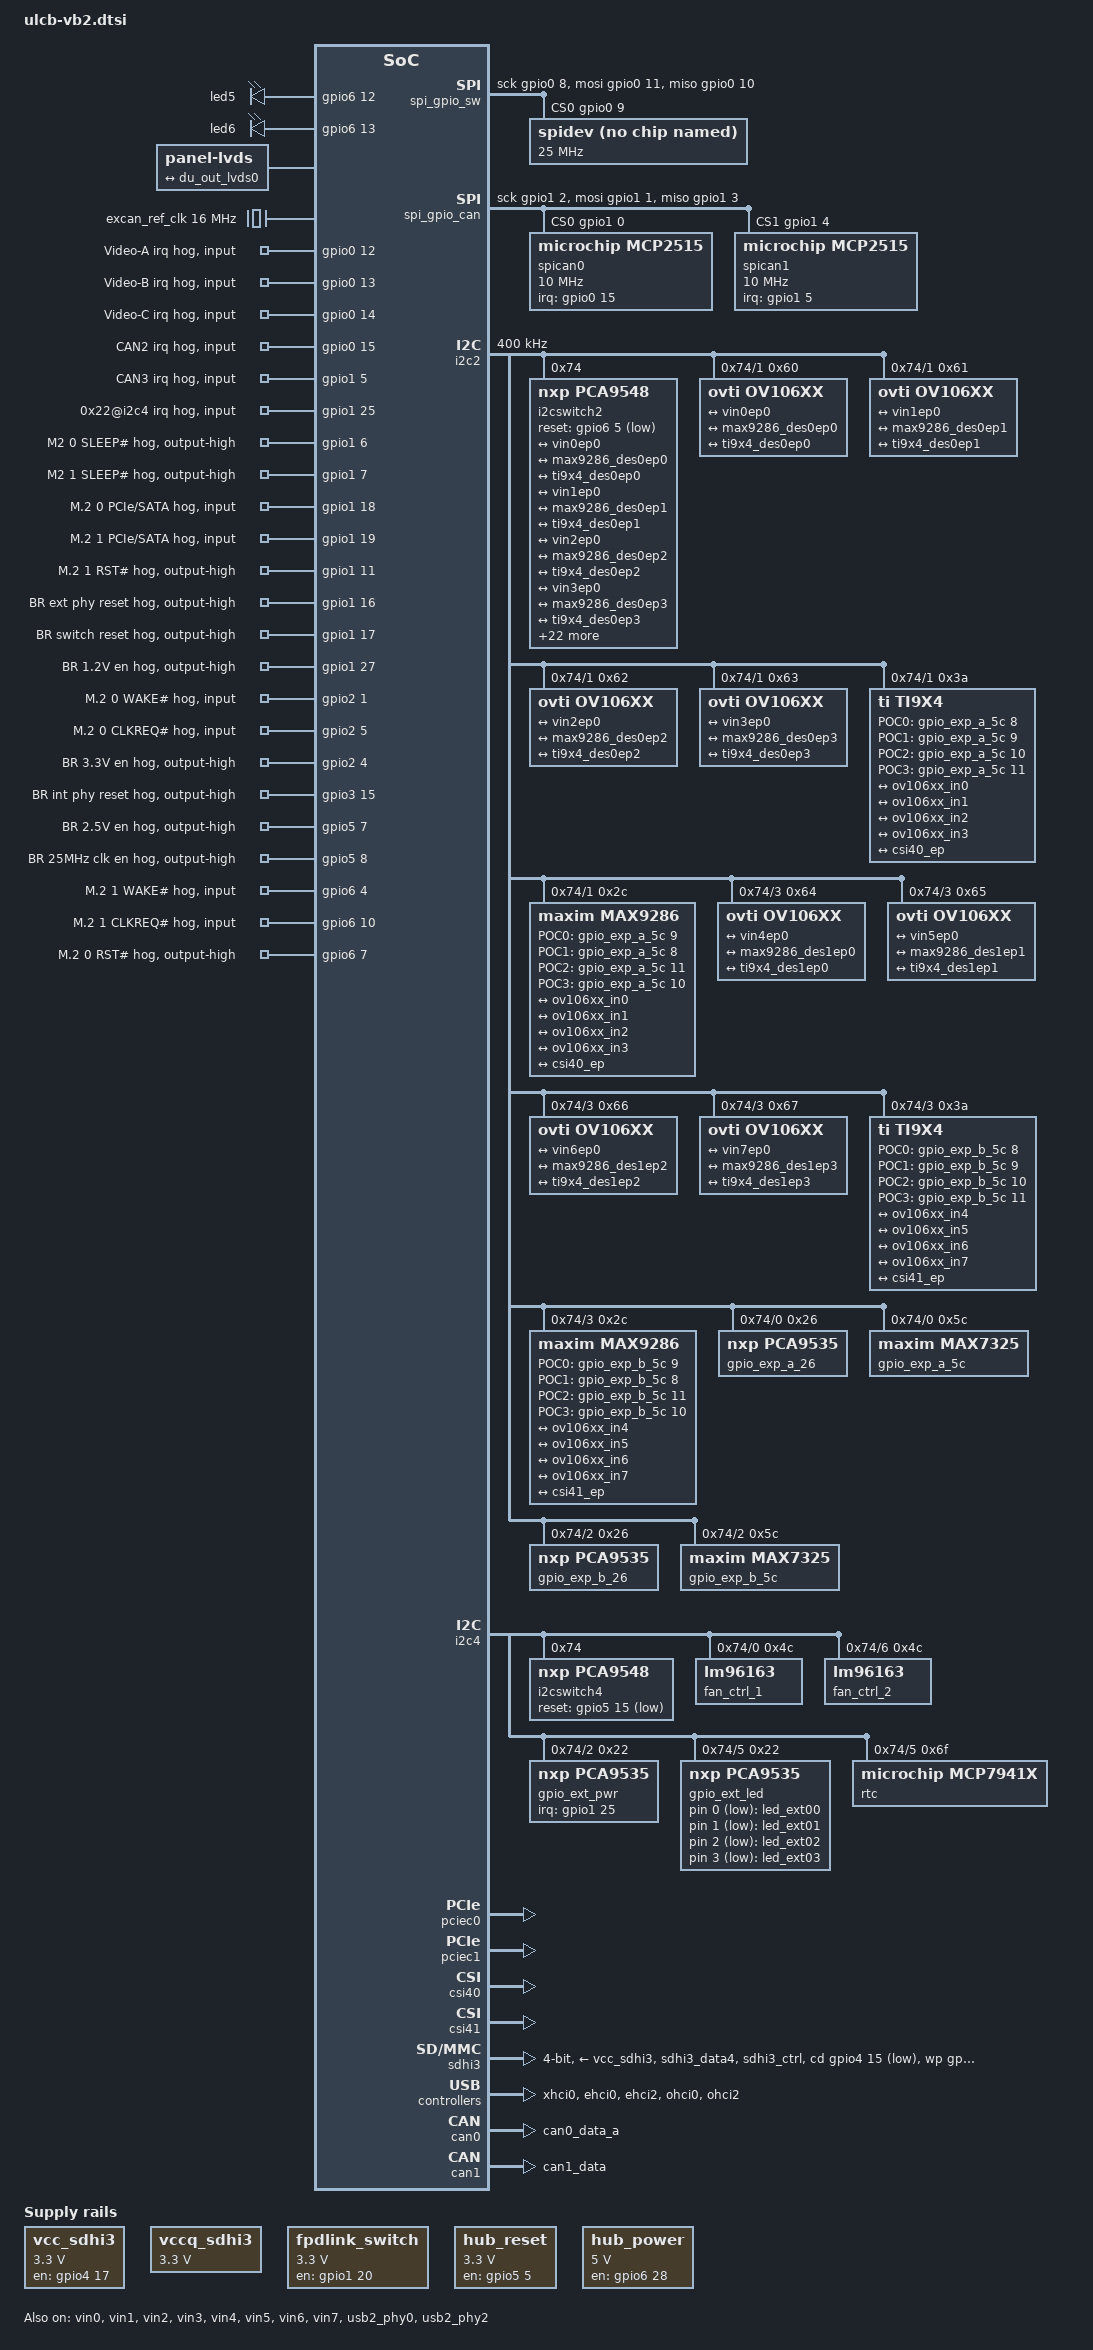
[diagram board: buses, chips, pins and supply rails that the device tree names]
/*
 * Device Tree Source for the ULCB Videobox V2 board
 *
 * Copyright (C) 2018 Cogent Embedded, Inc.
 *
 * This file is licensed under the terms of the GNU General Public License
 * version 2.  This program is licensed "as is" without any warranty of any
 * kind, whether express or implied.
 */

/ {
	leds {
		compatible = "gpio-leds";

		led5 {
			gpios = <&gpio6 12 GPIO_ACTIVE_HIGH>;
		};
		led6 {
			gpios = <&gpio6 13 GPIO_ACTIVE_HIGH>;
		};
		/* D13 - status 0 */
		led_ext00 {
			gpios = <&gpio_ext_led 0 GPIO_ACTIVE_LOW>;
			/* linux,default-trigger = "heartbeat"; */
		};
		/* D14 - status 1 */
		led_ext01 {
			gpios = <&gpio_ext_led 1 GPIO_ACTIVE_LOW>;
			/* linux,default-trigger = "mmc1"; */
		};
		/* D16 - HDMI0 */
		led_ext02 {
			gpios = <&gpio_ext_led 2 GPIO_ACTIVE_LOW>;
		};
		/* D18 - HDMI1 */
		led_ext03 {
			gpios = <&gpio_ext_led 3 GPIO_ACTIVE_LOW>;
		};
	};

	snd_clk: snd_clk {
		compatible = "fixed-clock";
		#clock-cells = <0>;
		clock-frequency = <24576000>;
		clock-output-names = "scki";
	};

	vcc_sdhi3: regulator-vcc-sdhi3 {
		compatible = "regulator-fixed";

		regulator-name = "SDHI3 Vcc";
		regulator-min-microvolt = <3300000>;
		regulator-max-microvolt = <3300000>;

		gpio = <&gpio4 17 GPIO_ACTIVE_HIGH>;
		enable-active-high;
	};

	vccq_sdhi3: regulator-vccq-sdhi3 {
		compatible = "regulator-fixed";

		regulator-name = "SDHI3 VccQ";
		regulator-min-microvolt = <3300000>;
		regulator-max-microvolt = <3300000>;
	};

	fpdlink_switch: regulator@8 {
		compatible = "regulator-fixed";
		regulator-name = "fpdlink_on";
		regulator-min-microvolt = <3300000>;
		regulator-max-microvolt = <3300000>;
		gpio = <&gpio1 20 0>;
		enable-active-high;
		regulator-always-on;
	};

	hub_reset: regulator@9 {
		compatible = "regulator-fixed";
		regulator-name = "hub_reset";
		regulator-min-microvolt = <3300000>;
		regulator-max-microvolt = <3300000>;
		gpio = <&gpio5 5 0>;
		enable-active-high;
		regulator-always-on;
	};

	hub_power: regulator@10 {
		compatible = "regulator-fixed";
		regulator-name = "hub_power";
		regulator-min-microvolt = <5000000>;
		regulator-max-microvolt = <5000000>;
		gpio = <&gpio6 28 0>;
		enable-active-high;
		regulator-always-on;
	};

	/delete-node/sound;

	rsnd_ak4613: sound@0 {
		pinctrl-0 = <&sound_0_pins>;
		pinctrl-names = "default";
		compatible = "simple-audio-card";

		simple-audio-card,format = "left_j";
		simple-audio-card,name = "ak4613";

		simple-audio-card,bitclock-master = <&sndcpu>;
		simple-audio-card,frame-master = <&sndcpu>;

		sndcpu: simple-audio-card,cpu@1 {
			sound-dai = <&rcar_sound>;
		};

		sndcodec: simple-audio-card,codec@1 {
			sound-dai = <&ak4613>;
		};
	};

	lvds {
		compatible = "panel-lvds";

		width-mm = <210>;
		height-mm = <158>;

		data-mapping = "jeida-24";

		panel-timing {
			/* 1280x800 @60Hz */
			clock-frequency = <65000000>;
			hactive = <1280>;
			vactive = <800>;
			hsync-len = <40>;
			hfront-porch = <80>;
			hback-porch = <40>;
			vfront-porch = <14>;
			vback-porch = <14>;
			vsync-len = <4>;
		};

		port {
			lvds_in: endpoint {
				remote-endpoint = <&du_out_lvds0>;
			};
		};
	};

	excan_ref_clk: excan-ref-clock {
		compatible = "fixed-clock";
		#clock-cells = <0>;
		clock-frequency = <16000000>;
	};

	spi_gpio_sw {
		compatible = "spi-gpio";
		#address-cells = <0x1>;
		#size-cells = <0x0>;
		gpio-sck = <&gpio0 8 GPIO_ACTIVE_HIGH>;
		gpio-miso = <&gpio0 10 GPIO_ACTIVE_HIGH>;
		gpio-mosi = <&gpio0 11 GPIO_ACTIVE_HIGH>;
		cs-gpios = <&gpio0 9 GPIO_ACTIVE_HIGH>;
		num-chipselects = <1>;

		spidev: spidev@0 {
			compatible = "spidev", "spi-gpio";
			reg = <0>;
			spi-max-frequency = <25000000>;
			spi-cpha;
			spi-cpol;
		};
	};

	spi_gpio_can {
		compatible = "spi-gpio";
		#address-cells = <0x1>;
		#size-cells = <0x0>;
		gpio-sck = <&gpio1 2 GPIO_ACTIVE_HIGH>;
		gpio-miso = <&gpio1 3 GPIO_ACTIVE_HIGH>;
		gpio-mosi = <&gpio1 1 GPIO_ACTIVE_HIGH>;
		cs-gpios = <&gpio1 0 GPIO_ACTIVE_HIGH
			    &gpio1 4 GPIO_ACTIVE_HIGH>;
		num-chipselects = <2>;

		spican0: spidev@0 {
			compatible = "microchip,mcp2515";
			reg = <0>;
			clocks = <&excan_ref_clk>;
			interrupt-parent = <&gpio0>;
			interrupts = <15 GPIO_ACTIVE_LOW>;
			spi-max-frequency = <10000000>;
		};
		spican1: spidev@1 {
			compatible = "microchip,mcp2515";
			reg = <1>;
			clocks = <&excan_ref_clk>;
			interrupt-parent = <&gpio1>;
			interrupts = <5 GPIO_ACTIVE_LOW>;
			spi-max-frequency = <10000000>;
		};
	};
};

&pfc {
	hscif4_pins: hscif4 {
		groups = "hscif4_data_a", "hscif4_ctrl";
		function = "hscif4";
	};

	/delete-node/sound;

	sound_0_pins: sound1 {
		groups = "ssi01239_ctrl", "ssi0_data", "ssi1_data_a";
		function = "ssi";
	};

	usb0_pins: usb0 {
		groups = "usb0";
		function = "usb0";
	};

	usb2_pins: usb2 {
		groups = "usb2";
		function = "usb2";
	};

	can0_pins: can0 {
		groups = "can0_data_a";
		function = "can0";
	};

	can1_pins: can1 {
		groups = "can1_data";
		function = "can1";
	};

	canfd0_pins: canfd0 {
		groups = "canfd0_data_a";
		function = "canfd0";
	};

	canfd1_pins: canfd1 {
		groups = "canfd1_data";
		function = "canfd1";
	};

	sdhi3_pins: sd3 {
		groups = "sdhi3_data4", "sdhi3_ctrl";
		function = "sdhi3";
		power-source = <3300>;
	};

	sdhi3_pins_uhs: sd3_uhs {
		groups = "sdhi3_data4", "sdhi3_ctrl";
		function = "sdhi3";
		power-source = <1800>;
	};
};

&gpio0 {
	video_a_irq {
		gpio-hog;
		gpios = <12 GPIO_ACTIVE_HIGH>;
		input;
		line-name = "Video-A irq";
	};

	video_b_irq {
		gpio-hog;
		gpios = <13 GPIO_ACTIVE_HIGH>;
		input;
		line-name = "Video-B irq";
	};

	video_c_irq {
		gpio-hog;
		gpios = <14 GPIO_ACTIVE_HIGH>;
		input;
		line-name = "Video-C irq";
	};
	can2_irq {
		gpio-hog;
		gpios = <15 GPIO_ACTIVE_HIGH>;
		input;
		line-name = "CAN2 irq";
	};
};

&gpio1 {
	can3_irq {
		gpio-hog;
		gpios = <5 GPIO_ACTIVE_HIGH>;
		input;
		line-name = "CAN3 irq";
	};
	gpioext_4_22_irq {
		gpio-hog;
		gpios = <25 GPIO_ACTIVE_HIGH>;
		input;
		line-name = "0x22@i2c4 irq";
	};
	m2_0_sleep {
		gpio-hog;
		gpios = <6 GPIO_ACTIVE_HIGH>;
		output-high;
		line-name = "M2 0 SLEEP#";
	};
	m2_1_sleep {
		gpio-hog;
		gpios = <7 GPIO_ACTIVE_HIGH>;
		output-high;
		line-name = "M2 1 SLEEP#";
	};
	m2_0_pcie_det {
		gpio-hog;
		gpios = <18 GPIO_ACTIVE_HIGH>;
		input;
		line-name = "M.2 0 PCIe/SATA";
	};
	m2_1_pcie_det {
		gpio-hog;
		gpios = <19 GPIO_ACTIVE_HIGH>;
		input;
		line-name = "M.2 1 PCIe/SATA";
	};
	m2_1_rst {
		gpio-hog;
		gpios = <11 GPIO_ACTIVE_HIGH>;
		output-high;
		line-name = "M.2 1 RST#";
	};
	switch_ext_phy_reset {
		gpio-hog;
		gpios = <16 GPIO_ACTIVE_HIGH>;
		output-high;
		line-name = "BR ext phy reset";
	};
	switch_sw_reset {
		gpio-hog;
		gpios = <17 GPIO_ACTIVE_HIGH>;
		output-high;
		line-name = "BR switch reset";
	};
	switch_1v2_en {
		gpio-hog;
		gpios = <27 GPIO_ACTIVE_HIGH>;
		output-high;
		line-name = "BR 1.2V en";
	};
};

&gpio2 {
	m2_0_wake {
		gpio-hog;
		gpios = <1 GPIO_ACTIVE_HIGH>;
		input;
		line-name = "M.2 0 WAKE#";
	};
	m2_0_clkreq {
		gpio-hog;
		gpios = <5 GPIO_ACTIVE_HIGH>;
		input;
		line-name = "M.2 0 CLKREQ#";
	};
	switch_3v3_en {
		gpio-hog;
		gpios = <4 GPIO_ACTIVE_HIGH>;
		output-high;
		line-name = "BR 3.3V en";
	};
};

&gpio3 {
	switch_int_phy_reset {
		gpio-hog;
		gpios = <15 GPIO_ACTIVE_HIGH>;
		output-high;
		line-name = "BR int phy reset";
	};
};

&gpio5 {
	switch_2v5_en {
		gpio-hog;
		gpios = <7 GPIO_ACTIVE_HIGH>;
		output-high;
		line-name = "BR 2.5V en";
	};
	switch_25mhz_en {
		gpio-hog;
		gpios = <8 GPIO_ACTIVE_HIGH>;
		output-high;
		line-name = "BR 25MHz clk en";
	};
};

&gpio6 {
	m2_1_wake {
		gpio-hog;
		gpios = <4 GPIO_ACTIVE_HIGH>;
		input;
		line-name = "M.2 1 WAKE#";
	};
	m2_1_clkreq {
		gpio-hog;
		gpios = <10 GPIO_ACTIVE_HIGH>;
		input;
		line-name = "M.2 1 CLKREQ#";
	};

	m2_0_rst {
		gpio-hog;
		gpios = <7 GPIO_ACTIVE_HIGH>;
		output-high;
		line-name = "M.2 0 RST#";
	};
};

&i2c2 {
	clock-frequency = <400000>;

	i2cswitch2: pca9548@74 {
		compatible = "nxp,pca9548";
		#address-cells = <1>;
		#size-cells = <0>;
		reg = <0x74>;
		reset-gpios = <&gpio6 5 GPIO_ACTIVE_LOW>;

		i2c@4 {
			#address-cells = <1>;
			#size-cells = <0>;
			reg = <4>;
			/* USB3.0 HUB node(s) */
			/* addr of TUSB8041 is 100.0100 = 0x44 */
		};

		i2c@1 {
			#address-cells = <1>;
			#size-cells = <0>;
			reg = <1>;
			/* Slot A (CN10) */

			ov106xx@0 {
				compatible = "ovti,ov106xx";
				reg = <0x60>;

				port@0 {
					ov106xx_in0: endpoint {
						clock-lanes = <0>;
						data-lanes = <1 2 3 4>;
						remote-endpoint = <&vin0ep0>;
					};
				};
				port@1 {
					ov106xx_max9286_des0ep0: endpoint@0 {
						remote-endpoint = <&max9286_des0ep0>;
					};
					ov106xx_ti9x4_des0ep0: endpoint@1 {
						remote-endpoint = <&ti9x4_des0ep0>;
					};
				};
			};

			ov106xx@1 {
				compatible = "ovti,ov106xx";
				reg = <0x61>;

				port@0 {
					ov106xx_in1: endpoint {
						clock-lanes = <0>;
						data-lanes = <1 2 3 4>;
						remote-endpoint = <&vin1ep0>;
					};
				};
				port@1 {
					ov106xx_max9286_des0ep1: endpoint@0 {
						remote-endpoint = <&max9286_des0ep1>;
					};
					ov106xx_ti9x4_des0ep1: endpoint@1 {
						remote-endpoint = <&ti9x4_des0ep1>;
					};
				};
			};

			ov106xx@2 {
				compatible = "ovti,ov106xx";
				reg = <0x62>;

				port@0 {
					ov106xx_in2: endpoint {
						clock-lanes = <0>;
						data-lanes = <1 2 3 4>;
						remote-endpoint = <&vin2ep0>;
					};
				};
				port@1 {
					ov106xx_max9286_des0ep2: endpoint@0 {
						remote-endpoint = <&max9286_des0ep2>;
					};
					ov106xx_ti9x4_des0ep2: endpoint@1 {
						remote-endpoint = <&ti9x4_des0ep2>;
					};
				};
			};

			ov106xx@3 {
				compatible = "ovti,ov106xx";
				reg = <0x63>;

				port@0 {
					ov106xx_in3: endpoint {
						clock-lanes = <0>;
						data-lanes = <1 2 3 4>;
						remote-endpoint = <&vin3ep0>;
					};
				};
				port@1 {
					ov106xx_max9286_des0ep3: endpoint@0 {
						remote-endpoint = <&max9286_des0ep3>;
					};
					ov106xx_ti9x4_des0ep3: endpoint@1 {
						remote-endpoint = <&ti9x4_des0ep3>;
					};
				};
			};

			/* DS90UB9x4 @ 0x3a */
			ti9x4@0 {
				compatible = "ti,ti9x4";
				reg = <0x3a>;
				ti,links = <4>;
				ti,lanes = <4>;
				ti,forwarding-mode = "round-robin";
				ti,cable-mode = "stp";

				POC0-gpios = <&gpio_exp_a_5c 8 GPIO_ACTIVE_HIGH>;
				POC1-gpios = <&gpio_exp_a_5c 9 GPIO_ACTIVE_HIGH>;
				POC2-gpios = <&gpio_exp_a_5c 10 GPIO_ACTIVE_HIGH>;
				POC3-gpios = <&gpio_exp_a_5c 11 GPIO_ACTIVE_HIGH>;

				port@0 {
					ti9x4_des0ep0: endpoint@0 {
						ti9x3-addr = <0x0c>;
						dvp-order = <0>;
						remote-endpoint = <&ov106xx_in0>;
					};
					ti9x4_des0ep1: endpoint@1 {
						ti9x3-addr = <0x0d>;
						dvp-order = <0>;
						remote-endpoint = <&ov106xx_in1>;
					};
					ti9x4_des0ep2: endpoint@2 {
						ti9x3-addr = <0x0e>;
						dvp-order = <0>;
						remote-endpoint = <&ov106xx_in2>;
					};
					ti9x4_des0ep3: endpoint@3 {
						ti9x3-addr = <0x0f>;
						dvp-order = <0>;
						remote-endpoint = <&ov106xx_in3>;
					};
				};
				port@1 {
					ti9x4_csi0ep0: endpoint {
						csi-rate = <1450>;
						remote-endpoint = <&csi40_ep>;
					};
				};
			};

			/* MAX9286 @ 0x2c */
			max9286@0 {
				compatible = "maxim,max9286";
				reg = <0x2c>;
				maxim,links = <4>;
				maxim,lanes = <4>;
				maxim,resetb-gpio = <1>;
				maxim,fsync-mode = "automatic";
				maxim,timeout = <100>;

				POC0-gpios = <&gpio_exp_a_5c 9 GPIO_ACTIVE_HIGH>;
				POC1-gpios = <&gpio_exp_a_5c 8 GPIO_ACTIVE_HIGH>;
				POC2-gpios = <&gpio_exp_a_5c 11 GPIO_ACTIVE_HIGH>;
				POC3-gpios = <&gpio_exp_a_5c 10 GPIO_ACTIVE_HIGH>;

				port@0 {
					max9286_des0ep0: endpoint@0 {
						max9271-addr = <0x50>;
						dvp-order = <1>;
						remote-endpoint = <&ov106xx_in0>;
					};
					max9286_des0ep1: endpoint@1 {
						max9271-addr = <0x51>;
						dvp-order = <1>;
						remote-endpoint = <&ov106xx_in1>;
					};
					max9286_des0ep2: endpoint@2 {
						max9271-addr = <0x52>;
						dvp-order = <1>;
						remote-endpoint = <&ov106xx_in2>;
					};
					max9286_des0ep3: endpoint@3 {
						max9271-addr = <0x53>;
						dvp-order = <1>;
						remote-endpoint = <&ov106xx_in3>;
					};
				};
				port@1 {
					max9286_csi0ep0: endpoint {
						csi-rate = <700>;
						remote-endpoint = <&csi40_ep>;
					};
				};
			};
		};

		i2c@3 {
			#address-cells = <1>;
			#size-cells = <0>;
			reg = <3>;
			/* Slot B (CN11) */

			ov106xx@4 {
				compatible = "ovti,ov106xx";
				reg = <0x64>;

				port@0 {
					ov106xx_in4: endpoint {
						clock-lanes = <0>;
						data-lanes = <1 2 3 4>;
						remote-endpoint = <&vin4ep0>;
					};
				};
				port@1 {
					ov106xx_max9286_des1ep0: endpoint@0 {
						remote-endpoint = <&max9286_des1ep0>;
					};
					ov106xx_ti9x4_des1ep0: endpoint@1 {
						remote-endpoint = <&ti9x4_des1ep0>;
					};
				};
			};

			ov106xx@5 {
				compatible = "ovti,ov106xx";
				reg = <0x65>;

				port@0 {
					ov106xx_in5: endpoint {
						clock-lanes = <0>;
						data-lanes = <1 2 3 4>;
						remote-endpoint = <&vin5ep0>;
					};
				};
				port@1 {
					ov106xx_max9286_des1ep1: endpoint@0 {
						remote-endpoint = <&max9286_des1ep1>;
					};
					ov106xx_ti9x4_des1ep1: endpoint@1 {
						remote-endpoint = <&ti9x4_des1ep1>;
					};
				};
			};

			ov106xx@6 {
				compatible = "ovti,ov106xx";
				reg = <0x66>;

				port@0 {
					ov106xx_in6: endpoint {
						clock-lanes = <0>;
						data-lanes = <1 2 3 4>;
						remote-endpoint = <&vin6ep0>;
					};
				};
				port@1 {
					ov106xx_max9286_des1ep2: endpoint@0 {
						remote-endpoint = <&max9286_des1ep2>;
					};
					ov106xx_ti9x4_des1ep2: endpoint@1 {
						remote-endpoint = <&ti9x4_des1ep2>;
					};
				};
			};

			ov106xx@7 {
				compatible = "ovti,ov106xx";
				reg = <0x67>;

				port@0 {
					ov106xx_in7: endpoint {
						clock-lanes = <0>;
						data-lanes = <1 2 3 4>;
						remote-endpoint = <&vin7ep0>;
					};
				};
				port@1 {
					ov106xx_max9286_des1ep3: endpoint@0 {
						remote-endpoint = <&max9286_des1ep3>;
					};
					ov106xx_ti9x4_des1ep3: endpoint@1 {
						remote-endpoint = <&ti9x4_des1ep3>;
					};
				};
			};

			/* DS90UB9x4 @ 0x3a */
			ti9x4@1 {
				compatible = "ti,ti9x4";
				reg = <0x3a>;
				ti,links = <4>;
				ti,lanes = <4>;
				ti,forwarding-mode = "round-robin";
				ti,cable-mode = "stp";

				POC0-gpios = <&gpio_exp_b_5c 8 GPIO_ACTIVE_HIGH>;
				POC1-gpios = <&gpio_exp_b_5c 9 GPIO_ACTIVE_HIGH>;
				POC2-gpios = <&gpio_exp_b_5c 10 GPIO_ACTIVE_HIGH>;
				POC3-gpios = <&gpio_exp_b_5c 11 GPIO_ACTIVE_HIGH>;

				port@0 {
					ti9x4_des1ep0: endpoint@0 {
						ti9x3-addr = <0x0c>;
						dvp-order = <0>;
						remote-endpoint = <&ov106xx_in4>;
					};
					ti9x4_des1ep1: endpoint@1 {
						ti9x3-addr = <0x0d>;
						dvp-order = <0>;
						remote-endpoint = <&ov106xx_in5>;
					};
					ti9x4_des1ep2: endpoint@2 {
						ti9x3-addr = <0x0e>;
						dvp-order = <0>;
						remote-endpoint = <&ov106xx_in6>;
					};
					ti9x4_des1ep3: endpoint@3 {
						ti9x3-addr = <0x0f>;
						dvp-order = <0>;
						remote-endpoint = <&ov106xx_in7>;
					};
				};
				port@1 {
					ti9x4_csi2ep0: endpoint {
						csi-rate = <1450>;
						remote-endpoint = <&csi41_ep>;
					};
				};
			};

			/* MAX9286 @ 0x2c */
			max9286@1 {
				compatible = "maxim,max9286";
				reg = <0x2c>;
				maxim,links = <4>;
				maxim,lanes = <4>;
				maxim,resetb-gpio = <1>;
				maxim,fsync-mode = "automatic";
				maxim,timeout = <100>;

				POC0-gpios = <&gpio_exp_b_5c 9 GPIO_ACTIVE_HIGH>;
				POC1-gpios = <&gpio_exp_b_5c 8 GPIO_ACTIVE_HIGH>;
				POC2-gpios = <&gpio_exp_b_5c 11 GPIO_ACTIVE_HIGH>;
				POC3-gpios = <&gpio_exp_b_5c 10 GPIO_ACTIVE_HIGH>;

				port@0 {
					max9286_des1ep0: endpoint@0 {
						max9271-addr = <0x50>;
						dvp-order = <1>;
						remote-endpoint = <&ov106xx_in4>;
					};
					max9286_des1ep1: endpoint@1 {
						max9271-addr = <0x51>;
						dvp-order = <1>;
						remote-endpoint = <&ov106xx_in5>;
					};
					max9286_des1ep2: endpoint@2 {
						max9271-addr = <0x52>;
						dvp-order = <1>;
						remote-endpoint = <&ov106xx_in6>;
					};
					max9286_des1ep3: endpoint@3 {
						max9271-addr = <0x53>;
						dvp-order = <1>;
						remote-endpoint = <&ov106xx_in7>;
					};
				};
				port@1 {
					max9286_csi2ep0: endpoint {
						csi-rate = <700>;
						remote-endpoint = <&csi41_ep>;
					};
				};
			};
		};

		i2c@7 {
			#address-cells = <1>;
			#size-cells = <0>;
			reg = <7>;
			/* Slot C (CN12) */
		};

		i2c@0 {
			#address-cells = <1>;
			#size-cells = <0>;
			reg = <0>;
			/* Slot A (CN10) */

			/* PCA9535 is a redundant/deprecated card */
			gpio_exp_a_26: gpio@26 {
				compatible = "nxp,pca9535";
				reg = <0x26>;
				gpio-controller;
				#gpio-cells = <2>;

				video_a_pwr_shdn {
					gpio-hog;
					gpios = <3 GPIO_ACTIVE_HIGH>;
					output-high;
					line-name = "Video-A PWR_SHDN";
				};
				video_a_cam_pwr0 {
					gpio-hog;
					gpios = <12 GPIO_ACTIVE_HIGH>;
					output-high;
					line-name = "Video-A PWR0";
				};
				video_a_cam_pwr1 {
					gpio-hog;
					gpios = <13 GPIO_ACTIVE_HIGH>;
					output-high;
					line-name = "Video-A PWR1";
				};
				video_a_cam_pwr2 {
					gpio-hog;
					gpios = <14 GPIO_ACTIVE_HIGH>;
					output-high;
					line-name = "Video-A PWR2";
				};
				video_a_cam_pwr3 {
					gpio-hog;
					gpios = <15 GPIO_ACTIVE_HIGH>;
					output-high;
					line-name = "Video-A PWR3";
				};
				video_a_des_shdn {
					gpio-hog;
					gpios = <4 GPIO_ACTIVE_HIGH>;
					output-high;
					line-name = "Video-A DES_SHDN";
				};
				video_a_des_led {
					gpio-hog;
					gpios = <7 GPIO_ACTIVE_HIGH>;
					output-low;
					line-name = "Video-A led";
				};
			};

			gpio_exp_a_5c: gpio@5c {
				compatible = "maxim,max7325";
				reg = <0x5c>;
				gpio-controller;
				#gpio-cells = <2>;

				video_a_des_cfg0 {
					gpio-hog;
					gpios = <7 GPIO_ACTIVE_HIGH>;
					input;
					line-name = "Video-A cfg0";
				};
				video_a_pwr_shdn {
					gpio-hog;
					gpios = <14 GPIO_ACTIVE_HIGH>;
					output-high;
					line-name = "Video-A PWR_SHDN";
				};
				video_a_des_shdn {
					gpio-hog;
					gpios = <13 GPIO_ACTIVE_HIGH>;
					output-high;
					line-name = "Video-A DES_SHDN";
				};
				video_a_led {
					gpio-hog;
					gpios = <12 GPIO_ACTIVE_HIGH>;
					output-low;
					line-name = "Video-A LED";
				};
			};
		};

		i2c@2 {
			#address-cells = <1>;
			#size-cells = <0>;
			reg = <2>;
			/* Slot B (CN11) */

			/* PCA9535 is a redundant/deprecated card */
			gpio_exp_b_26: gpio@26 {
				compatible = "nxp,pca9535";
				reg = <0x26>;
				gpio-controller;
				#gpio-cells = <2>;

				video_b_des_cfg1 {
					gpio-hog;
					gpios = <5 GPIO_ACTIVE_HIGH>;
					input;
					line-name = "Video-B cfg1";
				};
				video_b_des_cfg0 {
					gpio-hog;
					gpios = <6 GPIO_ACTIVE_HIGH>;
					input;
					line-name = "Video-B cfg0";
				};
				video_b_pwr_shdn {
					gpio-hog;
					gpios = <3 GPIO_ACTIVE_HIGH>;
					output-high;
					line-name = "Video-B PWR_SHDN";
				};
				video_b_cam_pwr0 {
					gpio-hog;
					gpios = <12 GPIO_ACTIVE_HIGH>;
					output-high;
					line-name = "Video-B PWR0";
				};
				video_b_cam_pwr1 {
					gpio-hog;
					gpios = <13 GPIO_ACTIVE_HIGH>;
					output-high;
					line-name = "Video-B PWR1";
				};
				video_b_cam_pwr2 {
					gpio-hog;
					gpios = <14 GPIO_ACTIVE_HIGH>;
					output-high;
					line-name = "Video-B PWR2";
				};
				video_b_cam_pwr3 {
					gpio-hog;
					gpios = <15 GPIO_ACTIVE_HIGH>;
					output-high;
					line-name = "Video-B PWR3";
				};
				video_b_des_shdn {
					gpio-hog;
					gpios = <4 GPIO_ACTIVE_HIGH>;
					output-high;
					line-name = "Video-B DES_SHDN";
				};
				video_b_des_led {
					gpio-hog;
					gpios = <7 GPIO_ACTIVE_HIGH>;
					output-low;
					line-name = "Video-B led";
				};
			};

			gpio_exp_b_5c: gpio@5c {
				compatible = "maxim,max7325";
				reg = <0x5c>;
				gpio-controller;
				#gpio-cells = <2>;

				video_b_des_cfg2 {
					gpio-hog;
					gpios = <4 GPIO_ACTIVE_HIGH>;
					input;
					line-name = "Video-B cfg2";
				};
				video_b_des_cfg1 {
					gpio-hog;
					gpios = <6 GPIO_ACTIVE_HIGH>;
					input;
					line-name = "Video-B cfg1";
				};
				video_b_des_cfg0 {
					gpio-hog;
					gpios = <7 GPIO_ACTIVE_HIGH>;
					input;
					line-name = "Video-B cfg0";
				};
				video_b_pwr_shdn {
					gpio-hog;
					gpios = <14 GPIO_ACTIVE_HIGH>;
					output-high;
					line-name = "Video-B PWR_SHDN";
				};
				video_b_des_shdn {
					gpio-hog;
					gpios = <13 GPIO_ACTIVE_HIGH>;
					output-high;
					line-name = "Video-B DES_SHDN";
				};
				video_b_led {
					gpio-hog;
					gpios = <12 GPIO_ACTIVE_HIGH>;
					output-low;
					line-name = "Video-B LED";
				};
			};
		};

		i2c@5 {
			#address-cells = <1>;
			#size-cells = <0>;
			reg = <5>;
			/* Slot C (CN12) */
		};
	};
};

&i2c4 {
	i2cswitch4: pca9548@74 {
		compatible = "nxp,pca9548";
		#address-cells = <1>;
		#size-cells = <0>;
		reg = <0x74>;
		reset-gpios= <&gpio5 15 GPIO_ACTIVE_LOW>;

		i2c@0 {
			#address-cells = <1>;
			#size-cells = <0>;
			reg = <0>;
			/* FAN1 node - lm96063 */
			fan_ctrl_1:lm96063-1@4c {
				compatible = "lm96163";
				reg = <0x4c>;
			};
		};

		i2c@6 {
			/* FAN2 */
			#address-cells = <1>;
			#size-cells = <0>;
			reg = <6>;
			/* FAN2 node - lm96063 */
			fan_ctrl_2:lm96063-2@4c {
				compatible = "lm96163";
				reg = <0x4c>;
			};
		};

		i2c@1 {
			#address-cells = <1>;
			#size-cells = <0>;
			reg = <1>;

			/* Power nodes - 2 x TPS544x20 */
			tps_5v: tps544c20@0x2a {
				compatible = "tps544c20";
				reg = <0x2c>;
				status = "disabled";
			};
			tps_3v3: tps544c20@0x22 {
				compatible = "tps544c20";
				reg = <0x24>;
				status = "disabled";
			};
		};

		i2c_power: i2c@2 {
			#address-cells = <1>;
			#size-cells = <0>;
			reg = <2>;
			/* CAN and power board nodes */

			gpio_ext_pwr: pca9535@22 {
				compatible = "nxp,pca9535";
				reg = <0x22>;
				gpio-controller;
				#gpio-cells = <2>;
				interrupt-controller;
				interrupt-parent = <&gpio1>;
				interrupts = <25 IRQ_TYPE_EDGE_FALLING>;

				/* enable input DCDC after wake-up signal released */
				pwr_hold {
					gpio-hog;
					gpios = <11 GPIO_ACTIVE_HIGH>;
					output-high;
					line-name = "pwr_hold";
				};
				pwr_5v_out {
					gpio-hog;
					gpios = <14 GPIO_ACTIVE_HIGH>;
					output-high;
					line-name = "pwr_5v_out";
				};
				pwr_5v_oc {
					gpio-hog;
					gpios = <15 GPIO_ACTIVE_HIGH>;
					input;
					line-name = "pwr_5v_oc";
				};
				pwr_wake8 {
					gpio-hog;
					gpios = <12 GPIO_ACTIVE_HIGH>;
					input;
					line-name = "wake8";
				};
				pwr_wake7 {
					gpio-hog;
					gpios = <13 GPIO_ACTIVE_HIGH>;
					input;
					line-name = "wake7";
				};

				/* CAN0 */
				can0_stby {
					gpio-hog;
					gpios = <4 GPIO_ACTIVE_HIGH>;
					output-low;
					line-name = "can0_stby";
				};
				can0_load {
					gpio-hog;
					gpios = <0 GPIO_ACTIVE_HIGH>;
					output-high;
					line-name = "can0_120R_load";
				};
				/* CAN1 */
				can1_stby {
					gpio-hog;
					gpios = <5 GPIO_ACTIVE_HIGH>;
					output-low;
					line-name = "can1_stby";
				};
				can1_load {
					gpio-hog;
					gpios = <1 GPIO_ACTIVE_HIGH>;
					output-high;
					line-name = "can1_120R_load";
				};
				/* CAN2 */
				can2_stby {
					gpio-hog;
					gpios = <6 GPIO_ACTIVE_HIGH>;
					output-low;
					line-name = "can2_stby";
				};
				can2_load {
					gpio-hog;
					gpios = <2 GPIO_ACTIVE_HIGH>;
					output-high;
					line-name = "can2_120R_load";
				};
				can2_rst {
					gpio-hog;
					gpios = <8 GPIO_ACTIVE_HIGH>;
					output-high;
					line-name = "can2_rst";
				};
				/* CAN3 */
				can3_stby {
					gpio-hog;
					gpios = <7 GPIO_ACTIVE_HIGH>;
					output-low;
					line-name = "can3_stby";
				};
				can3_load {
					gpio-hog;
					gpios = <3 GPIO_ACTIVE_HIGH>;
					output-high;
					line-name = "can3_120R_load";
				};
				can3_rst {
					gpio-hog;
					gpios = <9 GPIO_ACTIVE_HIGH>;
					output-high;
					line-name = "can3_rst";
				};
			};
		};

		i2c@3 {
			#address-cells = <1>;
			#size-cells = <0>;
			reg = <3>;
			/* FPDLink output node - DS90UH947 */
		};

		i2c@4 {
			#address-cells = <1>;
			#size-cells = <0>;
			reg = <4>;
			/* BCM switch node */
		};

		i2c@5 {
			#address-cells = <1>;
			#size-cells = <0>;
			reg = <5>;
			/* LED board node(s) */

			gpio_ext_led: pca9535@22 {
				compatible = "nxp,pca9535";
				reg = <0x22>;
				gpio-controller;
				#gpio-cells = <2>;

				/* gpios 0..7 are used for indication LEDs, low-active */
			};
			rtc: mcp79411@6f {
				compatible = "microchip,mcp7941x";
				reg = <0x6f>;
			};
		};

		/* port 7 is not used */
	};
};

&pcie_bus_clk {
	clock-frequency = <100000000>;
	status = "okay";
};

&pciec0 {
	status = "okay";
};

&pciec1 {
	status = "okay";
};

&vin0 {
	status = "okay";

	ports {
		#address-cells = <1>;
		#size-cells = <0>;

		port@0 {
			vin0ep0: endpoint {
				csi,select = "csi40";
				virtual,channel = <0>;
				data-lanes = <1 2 3 4>;
				remote-endpoint = <&ov106xx_in0>;
			};
		};
		port@1 {
			csi0ep0: endpoint {
				remote-endpoint = <&csi40_ep>;
			};
		};
		port@2 {
			vin0_max9286_des0ep0: endpoint@0 {
				remote-endpoint = <&max9286_des0ep0>;
			};
			vin0_ti9x4_des0ep0: endpoint@1 {
				remote-endpoint = <&ti9x4_des0ep0>;
			};
		};
	};
};

&vin1 {
	status = "okay";

	ports {
		#address-cells = <1>;
		#size-cells = <0>;

		port@0 {
			vin1ep0: endpoint {
				csi,select = "csi40";
				virtual,channel = <1>;
				data-lanes = <1 2 3 4>;
				remote-endpoint = <&ov106xx_in1>;
			};
		};
		port@1 {
			csi0ep1: endpoint {
				remote-endpoint = <&csi40_ep>;
			};
		};
		port@2 {
			vin1_max9286_des0ep1: endpoint@0 {
				remote-endpoint = <&max9286_des0ep1>;
			};
			vin1_ti9x4_des0ep1: endpoint@1 {
				remote-endpoint = <&ti9x4_des0ep1>;
			};
		};
	};
};

&vin2 {
	status = "okay";

	ports {
		#address-cells = <1>;
		#size-cells = <0>;

		port@0 {
			vin2ep0: endpoint {
				csi,select = "csi40";
				virtual,channel = <2>;
				data-lanes = <1 2 3 4>;
				remote-endpoint = <&ov106xx_in2>;
			};
		};
		port@1 {
			csi0ep2: endpoint {
				remote-endpoint = <&csi40_ep>;
			};
		};
		port@2 {
			vin2_max9286_des0ep2: endpoint@0 {
				remote-endpoint = <&max9286_des0ep2>;
			};
			vin2_ti9x4_des0ep2: endpoint@1 {
				remote-endpoint = <&ti9x4_des0ep2>;
			};
		};
	};
};

&vin3 {
	status = "okay";

	ports {
		#address-cells = <1>;
		#size-cells = <0>;

		port@0 {
			vin3ep0: endpoint {
				csi,select = "csi40";
				virtual,channel = <3>;
				data-lanes = <1 2 3 4>;
				remote-endpoint = <&ov106xx_in3>;
			};
		};
		port@1 {
			csi0ep3: endpoint {
				remote-endpoint = <&csi40_ep>;
			};
		};
		port@2 {
			vin3_max9286_des0ep3: endpoint@0 {
				remote-endpoint = <&max9286_des0ep3>;
			};
			vin3_ti9x4_des0ep3: endpoint@1 {
				remote-endpoint = <&ti9x4_des0ep3>;
			};
		};
	};
};

&vin4 {
	status = "okay";

	ports {
		#address-cells = <1>;
		#size-cells = <0>;

		port@0 {
			vin4ep0: endpoint {
				csi,select = "csi41";
				virtual,channel = <0>;
				remote-endpoint = <&ov106xx_in4>;
				data-lanes = <1 2 3 4>;
			};
		};
		port@1 {
			csi2ep0: endpoint {
				remote-endpoint = <&csi41_ep>;
			};
		};
		port@2 {
			vin4_max9286_des1ep0: endpoint@0 {
				remote-endpoint = <&max9286_des1ep0>;
			};
			vin4_ti9x4_des1ep0: endpoint@1 {
				remote-endpoint = <&ti9x4_des1ep0>;
			};
		};
	};
};

&vin5 {
	status = "okay";

	ports {
		#address-cells = <1>;
		#size-cells = <0>;

		port@0 {
			vin5ep0: endpoint@0 {
				csi,select = "csi41";
				virtual,channel = <1>;
				remote-endpoint = <&ov106xx_in5>;
				data-lanes = <1 2 3 4>;
			};
		};
		port@1 {
			csi2ep1: endpoint {
				remote-endpoint = <&csi41_ep>;
			};
		};
		port@2 {
			vin5_max9286_des1ep1: endpoint@0 {
				remote-endpoint = <&max9286_des1ep1>;
			};
			vin5_ti9x4_des1ep1: endpoint@1 {
				remote-endpoint = <&ti9x4_des1ep1>;
			};
		};
	};
};

&vin6 {
	status = "okay";

	ports {
		#address-cells = <1>;
		#size-cells = <0>;

		port@0 {
			vin6ep0: endpoint@0 {
				csi,select = "csi41";
				virtual,channel = <2>;
				remote-endpoint = <&ov106xx_in6>;
				data-lanes = <1 2 3 4>;
			};
		};
		port@1 {
			csi2ep2: endpoint {
				remote-endpoint = <&csi41_ep>;
			};
		};
		port@2 {
			vin6_max9286_des1ep2: endpoint@0 {
				remote-endpoint = <&max9286_des1ep2>;
			};
			vin6_ti9x4_des1ep2: endpoint@1 {
				remote-endpoint = <&ti9x4_des1ep2>;
			};
		};
	};
};

&vin7 {
	status = "okay";

	ports {
		#address-cells = <1>;
		#size-cells = <0>;

		port@0 {
			vin7ep0: endpoint@0 {
				csi,select = "csi41";
				virtual,channel = <3>;
				remote-endpoint = <&ov106xx_in7>;
				data-lanes = <1 2 3 4>;
			};
		};
		port@1 {
			csi2ep3: endpoint {
				remote-endpoint = <&csi41_ep>;
			};
		};
		port@2 {
			vin7_max9286_des1ep3: endpoint@0 {
				remote-endpoint = <&max9286_des1ep3>;
			};
			vin7_ti9x4_des1ep3: endpoint@1 {
				remote-endpoint = <&ti9x4_des1ep3>;
			};
		};
	};
};

&csi40 {
	status = "okay";

	virtual,channel {
		csi2_vc0 {
			data,type = "ycbcr422";
			receive,vc = <0>;
		};
		csi2_vc1 {
			data,type = "ycbcr422";
			receive,vc = <1>;
		};
		csi2_vc2 {
			data,type = "ycbcr422";
			receive,vc = <2>;
		};
		csi2_vc3 {
			data,type = "ycbcr422";
			receive,vc = <3>;
		};
	};

	port {
		#address-cells = <1>;
		#size-cells = <0>;

		csi40_ep: endpoint {
			clock-lanes = <0>;
			data-lanes = <1 2 3 4>;
			csi-rate = <300>;
		};
	};
};

&csi41 {
	status = "okay";

	virtual,channel {
		csi2_vc0 {
			data,type = "ycbcr422";
			receive,vc = <0>;
		};
		csi2_vc1 {
			data,type = "ycbcr422";
			receive,vc = <1>;
		};
		csi2_vc2 {
			data,type = "ycbcr422";
			receive,vc = <2>;
		};
		csi2_vc3 {
			data,type = "ycbcr422";
			receive,vc = <3>;
		};
	};

	port {
		#address-cells = <1>;
		#size-cells = <0>;

		csi41_ep: endpoint {
			clock-lanes = <0>;
			data-lanes = <1 2 3 4>;
			csi-rate = <300>;
		};
	};
};

&rcar_sound {
	pinctrl-0 = <&sound_clk_pins>;

	/* Multi DAI */
	#sound-dai-cells = <1>;
};

&ssi1 {
	/delete-property/shared-pin;
};

&sdhi3 {
	pinctrl-0 = <&sdhi3_pins>;
	pinctrl-1 = <&sdhi3_pins_uhs>;
	pinctrl-names = "default", "state_uhs";

	vmmc-supply = <&vcc_sdhi3>;
	vqmmc-supply = <&vccq_sdhi3>;
	cd-gpios = <&gpio4 15 GPIO_ACTIVE_LOW>;
	wp-gpios = <&gpio4 16 GPIO_ACTIVE_HIGH>;
	bus-width = <4>;
	sd-uhs-sdr50;
	status = "okay";
};

&msiof1 {
	status = "disabled";
};

&usb2_phy0 {
	pinctrl-0 = <&usb0_pins>;
	pinctrl-names = "default";

	status = "okay";
};

&usb2_phy2 {
	pinctrl-0 = <&usb2_pins>;
	pinctrl-names = "default";

	status = "okay";
};

&xhci0 {
	status = "okay";
};

&ehci0 {
	status = "okay";
};

&ehci2 {
	status = "okay";
};

&ohci0 {
	status = "okay";
};

&ohci2 {
	status = "okay";
};

&can0 {
	pinctrl-0 = <&can0_pins>;
	pinctrl-names = "default";
	status = "okay";

	renesas,can-clock-select = <0x0>;
};

&can1 {
	pinctrl-0 = <&can1_pins>;
	pinctrl-names = "default";
	status = "okay";

	renesas,can-clock-select = <0x0>;
};

&canfd {
	pinctrl-0 = <&canfd0_pins &canfd1_pins>;
	pinctrl-names = "default";
	status = "disabled";

	renesas,can-clock-select = <0x0>;

	channel0 {
		status = "okay";
	};

	channel1 {
		status = "okay";
	};
};

/* uncomment to enable CN12 on VIN4-7 */
//#include "ulcb-vb2-cn12.dtsi"
